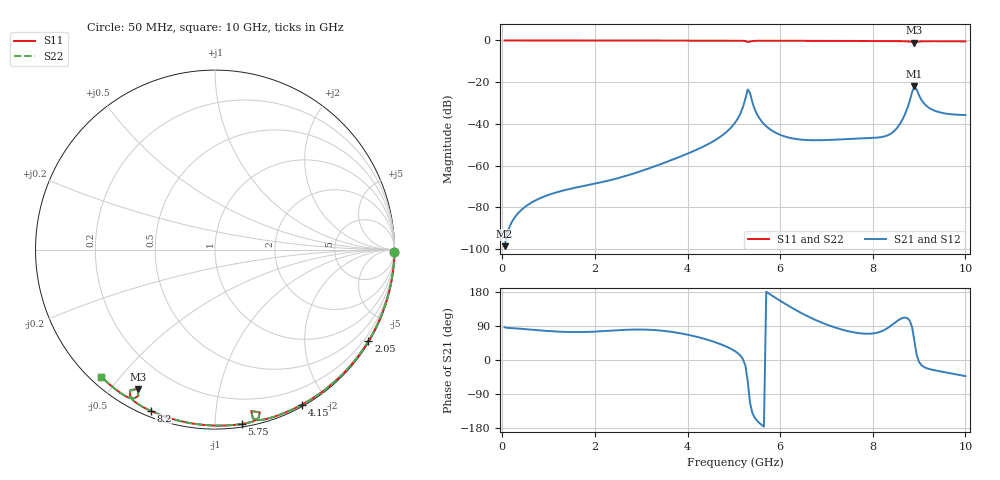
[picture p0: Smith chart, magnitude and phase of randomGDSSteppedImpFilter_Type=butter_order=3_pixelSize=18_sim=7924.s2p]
! freq	dB(S11)	phase(S11)	dB(S12)	phase(S12)
!  dB(S21)	phase(S21)	dB(S22)	phase(S22)
!S-par simulation data
#  GHz  S  DB  R 50
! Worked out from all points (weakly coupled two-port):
!   200 points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, 50 MHz to 10 GHz, reference 50 ohm
!   highest |S21| = -22.07 dB at 8.9 GHz (marker M1); lowest = -98.7 dB at 50 MHz (marker M2)
!   lowest |S11| = -1.0 dB at 8.9 GHz (marker M3), VSWR 16.82, Z = 4 - j29.3 ohm
!   |S11| at or under -10 dB: nowhere
!   |S22| runs from -1.0 to 0.0 dB; largest |S21 - S12| = 0
!   S11 on the Smith chart (normalised r, x): 50 MHz: open; 2.05 GHz: 0.03, -3.63; 4.15 GHz: 0.02, -1.71; 5.75 GHz: 0.02, -1.17; 8.2 GHz: 0.02, -0.68; 10 GHz: 0.03, -0.45
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0.05  -0.00 -0.8  -98.68 86.5  -98.68 86.5  -0.00 -0.8
0.45  -0.01 -6.9  -80.57 81.9  -80.57 81.9  -0.01 -6.9
1  -0.02 -15.2  -74.07 76.4  -74.07 76.4  -0.02 -15.2
1.75  -0.03 -26.4  -69.82 73.8  -69.82 73.8  -0.03 -26.4
2.05  -0.04 -30.8  -68.43 75.2  -68.43 75.2  -0.04 -30.8
3.4  -0.07 -50.3  -59.50 77.9  -59.50 77.9  -0.07 -50.3
4.15  -0.09 -60.7  -52.88 62.7  -52.88 62.7  -0.09 -60.7
4.7  -0.10 -68.3  -46.32 42.4  -46.32 42.4  -0.10 -68.3
5.05  -0.12 -73.3  -38.70 21.2  -38.70 21.2  -0.12 -73.3
5.2  -0.19 -76.1  -31.77 1.3  -31.77 1.3  -0.19 -76.1
5.3  -0.71 -77.3  -23.53 -56.0  -23.53 -56.0  -0.71 -77.3
5.5  -0.17 -77.5  -35.37 -160.1  -35.37 -160.1  -0.17 -77.5
5.75  -0.15 -81.3  -42.08 175.8  -42.08 175.8  -0.15 -81.3
6.15  -0.16 -86.5  -46.40 145.1  -46.40 145.1  -0.16 -86.5
6.7  -0.19 -93.5  -47.86 109.2  -47.86 109.2  -0.19 -93.5
8.2  -0.29 -111.8  -46.30 76.4  -46.30 76.4  -0.29 -111.8
8.35  -0.30 -113.6  -45.22 86.7  -45.22 86.7  -0.30 -113.6
8.65  -0.37 -117.7  -37.54 111.1  -37.54 111.1  -0.37 -117.7
8.9  -1.03 -119.0  -22.07 48.6  -22.07 48.6  -1.04 -119.0
9.1  -0.40 -120.5  -30.03 -18.1  -30.03 -18.1  -0.40 -120.5
9.25  -0.38 -122.8  -32.80 -24.8  -32.80 -24.8  -0.38 -122.8
10  -0.45 -131.8  -35.78 -42.5  -35.78 -42.5  -0.45 -131.8
